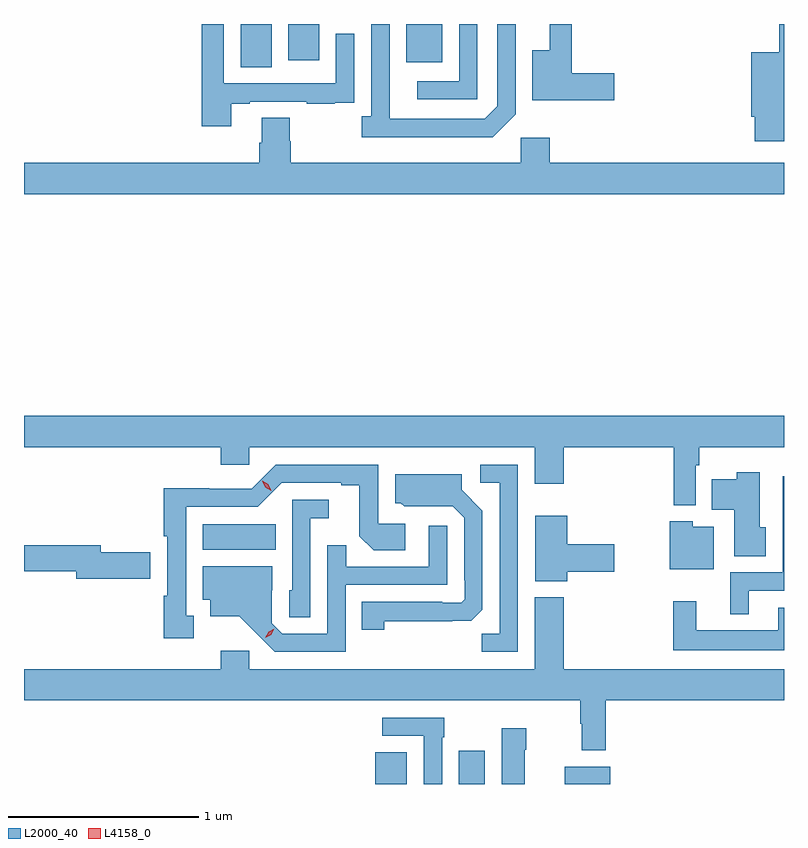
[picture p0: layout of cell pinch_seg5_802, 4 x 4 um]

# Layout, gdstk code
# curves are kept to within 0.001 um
import gdstk
lib = gdstk.Library(unit=1e-6, precision=1e-09)
def R(c, l, rs):  # rectangles x0, y0, x1, y1
    for r in rs: c.add(gdstk.rectangle(r[:2], r[2:], *l))
def P(c, l, *ps):  # polygons
    for p in ps: c.add(gdstk.Polygon(p, *l))
L2000_40 = (2000, 40)
L4158_0 = (4158, 0)

pinch_seg5_802 = lib.new_cell('pinch_seg5_802')
R(pinch_seg5_802, L2000_40, [(773.198,908.267,773.365,908.435), (773.639,908.267,773.776,908.443), (774.197,908.267,774.436,908.359), (772.292,909.5,772.676,909.634), (772.49,912.04,772.654,912.267), (773.363,912.065,773.551,912.267), (772.742,912.075,772.903,912.267)])
P(pinch_seg5_802, L2000_40, [(773.937,911.793),(773.937,912.267),(773.841,912.267),(773.841,911.835),(773.775,911.769),(773.275,911.769),(773.274,912.267),(773.178,912.267),(773.178,911.782),(773.127,911.782),(773.127,911.672),(773.816,911.672)],
  [(772.441,911.847),(772.537,911.847),(772.537,911.859),(772.837,911.859),(772.837,911.847),(772.985,911.847),(772.985,911.853),(773.087,911.853),(773.087,911.962),(773.088,911.962),(773.088,912.217),(772.992,912.217),(772.992,911.955),(772.401,911.955),(772.401,912.267),(772.285,912.267),(772.285,911.73),(772.441,911.73)],
  [(775.35,912.267),(775.326,912.267),(775.326,912.118),(775.178,912.118),(775.178,911.778),(775.196,911.778),(775.196,911.651),(775.35,911.651)],
  [(774.457,912.008),(774.233,912.008),(774.233,912.267),(774.116,912.267),(774.116,912.13),(774.026,912.13),(774.026,911.866),(774.457,911.866)],
  [(773.736,912.267),(773.64,912.267),(773.64,911.967),(773.421,911.967),(773.421,911.871),(773.736,911.871)],
  [(775.35,911.536),(774.116,911.536),(774.116,911.668),(773.964,911.668),(773.964,911.536),(772.754,911.536),(772.754,911.649),(772.749,911.649),(772.749,911.774),(772.601,911.774),(772.601,911.642),(772.589,911.642),(772.589,911.536),(771.35,911.536),(771.35,911.372),(775.35,911.372)],
  [(774.885,909.944),(774.905,909.944),(774.905,910.04),(775.35,910.04),(775.35,910.204),(771.35,910.204),(771.35,910.04),(772.385,910.04),(772.385,909.947),(772.536,909.947),(772.536,910.04),(774.038,910.04),(774.038,909.846),(774.191,909.846),(774.191,910.04),(774.769,910.04),(774.769,909.734),(774.885,909.734)],
  [(773.949,909.948),(773.751,909.948),(773.751,909.852),(773.853,909.852),(773.853,909.059),(773.758,909.059),(773.758,908.964),(773.949,908.964)],
  [(772.243,909.153),(772.204,909.153),(772.204,909.726),(772.581,909.726),(772.707,909.852),(773.021,909.852),(773.021,909.84),(773.115,909.84),(773.115,909.572),(773.191,909.496),(773.356,909.496),(773.356,909.636),(773.214,909.636),(773.214,909.948),(772.674,909.948),(772.548,909.822),(772.326,909.822),(772.326,909.824),(772.086,909.824),(772.086,909.571),(772.103,909.571),(772.103,909.257),(772.086,909.257),(772.086,909.033),(772.243,909.033)],
  [(775.255,909.618),(775.222,909.618),(775.222,909.907),(775.1,909.907),(775.1,909.871),(774.97,909.871),(774.97,909.71),(775.088,909.71),(775.088,909.466),(775.255,909.466)],
  [(773.247,909.124),(773.704,909.125),(773.763,909.184),(773.763,909.706),(773.653,909.816),(773.653,909.898),(773.303,909.898),(773.303,909.744),(773.334,909.744),(773.35,909.728),(773.607,909.729),(773.667,909.669),(773.667,909.34),(773.67,909.34),(773.67,909.24),(773.652,909.222),(773.552,909.222),(773.552,909.225),(773.128,909.225),(773.128,909.078),(773.247,909.078)],
  [(775.165,909.285),(775.35,909.285),(775.35,909.886),(775.344,909.886),(775.344,909.381),(775.067,909.381),(775.067,909.161),(775.165,909.161)],
  [(772.857,909.665),(772.954,909.665),(772.954,909.762),(772.761,909.762),(772.761,909.288),(772.746,909.288),(772.746,909.145),(772.857,909.145)],
  [(774.208,909.383),(774.457,909.383),(774.457,909.53),(774.208,909.53),(774.208,909.679),(774.041,909.679),(774.041,909.335),(774.208,909.335)],
  [(774.979,909.622),(774.87,909.622),(774.87,909.649),(774.749,909.649),(774.749,909.398),(774.979,909.398)],
  [(773.043,909.315),(773.577,909.315),(773.577,909.625),(773.481,909.625),(773.481,909.411),(773.045,909.411),(773.045,909.524),(772.947,909.524),(772.947,909.057),(772.71,909.057),(772.653,909.114),(772.653,909.288),(772.657,909.288),(772.657,909.412),(772.292,909.412),(772.292,909.236),(772.331,909.236),(772.331,909.149),(772.483,909.149),(772.67,908.964),(773.043,908.964)],
  [(772.015,909.488),(771.754,909.488),(771.754,909.524),(771.35,909.524),(771.35,909.388),(771.626,909.388),(771.626,909.346),(772.015,909.346)],
  [(774.413,908.708),(775.35,908.708),(775.35,908.872),(774.191,908.872),(774.191,909.25),(774.038,909.25),(774.038,908.872),(772.536,908.872),(772.536,908.968),(772.385,908.968),(772.385,908.872),(771.35,908.872),(771.35,908.708),(774.277,908.708),(774.277,908.585),(774.285,908.585),(774.285,908.445),(774.413,908.445)],
  [(775.35,909.195),(775.319,909.195),(775.319,909.076),(774.889,909.076),(774.889,909.229),(774.768,909.229),(774.768,908.972),(775.35,908.972)],
  [(773.55,908.513),(773.563,908.513),(773.563,908.616),(773.235,908.616),(773.235,908.52),(773.454,908.52),(773.454,908.267),(773.55,908.267)],
  [(773.986,908.447),(773.994,908.447),(773.994,908.56),(773.864,908.56),(773.864,908.267),(773.986,908.267)])
P(pinch_seg5_802, L4158_0, [(772.619,909.038),(772.619,909.038),(772.637,909.068),(772.667,909.083),(772.668,909.083),(772.668,909.083),(772.65,909.053),(772.62,909.038)],
  [(772.652,909.811),(772.62,909.83),(772.603,909.862),(772.603,909.863),(772.603,909.863),(772.635,909.844),(772.652,909.811),(772.652,909.811)])

lib.write_gds('pinch_seg5_802.gds')
